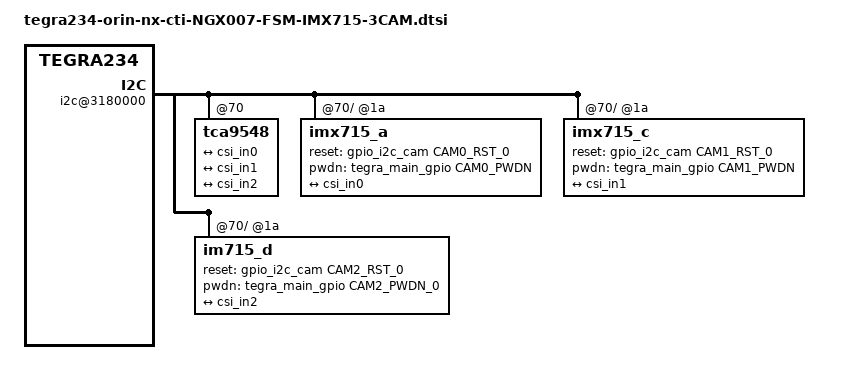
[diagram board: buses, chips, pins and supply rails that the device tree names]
/*
 * Copyright (c) 2023, Connect Tech Inc.  All rights reserved.
 *
 * This program is free software; you can redistribute it and/or modify it
 * under the terms and conditions of the GNU General Public License,
 * version 2, as published by the Free Software Foundation.
 *
 * This program is distributed in the hope it will be useful, but WITHOUT
 * ANY WARRANTY; without even the implied warranty of MERCHANTABILITY or
 * FITNESS FOR A PARTICULAR PURPOSE.  See the GNU General Public License for
 * more details.
 *
 * You should have received a copy of the GNU General Public License
 * along with this program.  If not, see <http://www.gnu.org/licenses/>.
 */
 
#include "tegra234-orin-nx-cti-NGX007-FSM-3CAM-base.dtsi"
#include "tegra234-cti-fsm-imx715-modes-header.dtsi"

#include "dt-bindings/clock/tegra234-clock.h"

/ {

    i2c@3180000 {
		tca9548@70 {
			status = "okay";	
			i2c@0 {
				status = "okay";
				imx715_a@1a{
					status  = "okay";							
					devnode = "video0";
								
                    reset-gpios = <&gpio_i2c_cam CAM0_RST_0 GPIO_ACTIVE_HIGH>;
					pwdn-gpios = <&tegra_main_gpio CAM0_PWDN GPIO_ACTIVE_HIGH>;
                    
                    SENSOR_COMMON

#define LANE_POLARITY I2C0_LANEPOLARITY
#define TEGRA_SINTERFACE I2C0_SINTERFACE

                    SENSOR_MODE0_2LANE
                    SENSOR_MODE1_2LANE
                    SENSOR_MODE2_2LANE
                    SENSOR_MODE3_2LANE
                    SENSOR_MODE4_2LANE

                    ports {
                        #address-cells = <1>;
                        #size-cells = <0>;
                        port@0 {
                            reg = <0>;
                            vi_out0: endpoint {
                                port-index = VI_CSI_PORT_INDEX0;
                                bus-width = <2>;
                                remote-endpoint = <&csi_in0>;
                            };
                        };
                    };
                };
            };

            i2c@1 {
                status = "okay";
                imx715_c@1a {
                    status = "okay";
                    devnode = "video2";

                    reset-gpios = <&gpio_i2c_cam CAM1_RST_0 GPIO_ACTIVE_HIGH>;
					pwdn-gpios = <&tegra_main_gpio CAM1_PWDN GPIO_ACTIVE_HIGH>;
								
                    SENSOR_COMMON

#undef LANE_POLARITY
#undef TEGRA_SINTERFACE
#define LANE_POLARITY I2C1_LANEPOLARITY
#define TEGRA_SINTERFACE I2C1_SINTERFACE

                    SENSOR_MODE0_4LANE
                    SENSOR_MODE1_4LANE
                    SENSOR_MODE2_4LANE
                    SENSOR_MODE3_4LANE
                    SENSOR_MODE4_4LANE

                    ports {
					    #address-cells = <1>;
						#size-cells = <0>;
						port@0 {
							reg = <0>;
							vi_out1: endpoint {
								port-index = VI_CSI_PORT_INDEX1;
								bus-width = <2>;
                                remote-endpoint = <&csi_in1>;
							};
						};
					};
                };
            };

            i2c@2 {
                status = "okay";
                im715_d@1a {
                    status = "okay";
                    devnode = "video4";

                    reset-gpios = <&gpio_i2c_cam CAM2_RST_0 GPIO_ACTIVE_HIGH>;
					pwdn-gpios = <&tegra_main_gpio CAM2_PWDN_0 GPIO_ACTIVE_HIGH>;
								
                    SENSOR_COMMON

#undef LANE_POLARITY
#undef TEGRA_SINTERFACE
#define LANE_POLARITY I2C2_LANEPOLARITY
#define TEGRA_SINTERFACE I2C2_SINTERFACE

                    SENSOR_MODE0_4LANE
                    SENSOR_MODE1_4LANE
                    SENSOR_MODE2_4LANE
                    SENSOR_MODE3_4LANE
                    SENSOR_MODE4_4LANE

                    ports {
					    #address-cells = <1>;
						#size-cells = <0>;
						port@0 {
							reg = <0>;
							vi_out2: endpoint {
								port-index = VI_CSI_PORT_INDEX1;
								bus-width = <2>;
                                remote-endpoint = <&csi_in2>;
							};
						};
					};
                };
            };
        };
    };

    tegra-camera-platform {
		modules {
			module0 {
				badge = "imx715_bottomleft_framos";
				position = "bottomleft";
				orientation = "1";
				status = "okay";
				drivernode0 {
					status = "okay";
					pcl_id = "v4l2_sensor";
					devname = "imx715 30-001a";
					proc-device-tree = "/proc/device-tree/i2c@3180000/tca9548@70/i2c@0/imx715_a@1a";
				};
			};
			module1 {
				badge = "imx715_centerright_framos";
				position = "centerright";
				orientation = "1";
				status = "okay";
				drivernode0 {
					status = "okay";
					pcl_id = "v4l2_sensor";
					devname = "imx715 31-001a";
					proc-device-tree = "/proc/device-tree/i2c@3180000/tca9548@70/i2c@1/imx715_c@1a";
				};
			};
			module2 {
				badge = "imx715_bottomright_framos";
				position = "bottomright";
				orientation = "1";
				status = "okay";
				drivernode0 {
					status = "okay";
					pcl_id = "v4l2_sensor";
					devname = "imx715 32-001a";
					proc-device-tree = "/proc/device-tree/i2c@3180000/tca9548@70/i2c@2/imx715_d@1a";
				};
			};
		};
	};
};
